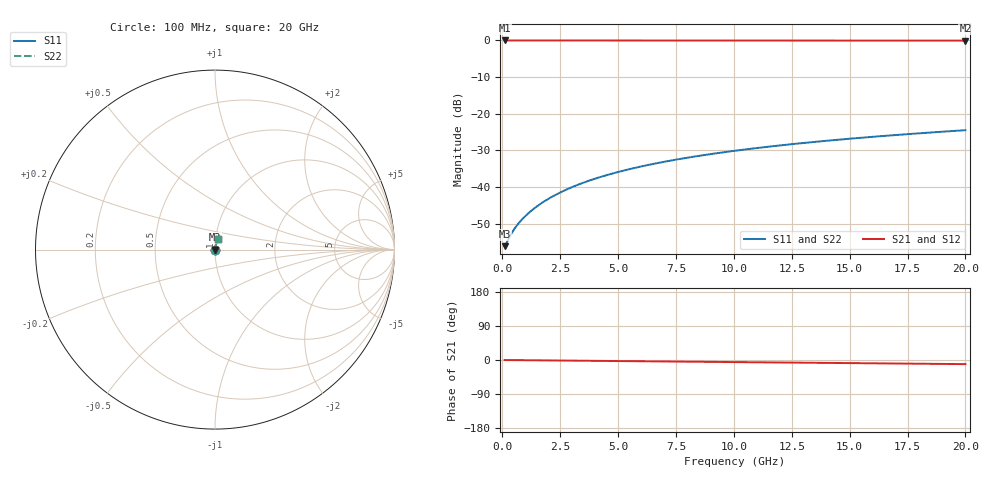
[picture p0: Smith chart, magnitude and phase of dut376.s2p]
! Touchstone file exported from HFSS 2026.1.0
!  File:  C:/ffzhzh/LocalFiles/Ansys_Project_Files/temp_train_BSMRDL_376_1783011889_46388.aedt
!  Generated:  01:06:11 AM Jul  3, 2026
!  Design:  BSMRDL
!  Project:  temp_train_BSMRDL_376_1783011889_46388
! Variables:
!  h_bsmrdl = 2.54um
!  h_ox = 20um
!  h_rdl = 5um
!  h_sub = 80um
!  h_tmrdl = 5um
!  h_tsv = 80um
!  h_via = 3um
!  l_bsmrdl = 168.06um
!  l_sub = 568.06um
!  l_tmrdl = 200um
!  m_sub = 200um
!  pitch = 27.35um
!  r_tsv = 6um
!  s_tmrdl = 10um
!  w_bsmrdl = 19.92um
!  w_sub = 500um
!  w_tmrdl = 12um
!  x_tsv_center1 = 206um
!  x_tsv_center2 = 393.98um
!  x_tsv_center3 = 605.98um
!  x_tsv_center4 = 793.96um
!  x_tsv_center5 = 1005.96um
!  x_tsv_center6 = 1193.94um
# GHz S MA R 50.000000
! Terminal data exported
! Port[1] = BSM_RDL1_1_T1
! Port[2] = BSM_RDL1_1_T2
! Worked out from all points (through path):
!   200 points, 100 MHz to 20 GHz, reference 50 ohm
!   highest |S21| = -0.01 dB at 100 MHz (marker M1); lowest = -0.1 dB at 20 GHz (marker M2)
!   group delay of S21, straight-line fit = 1.51 ps
!   lowest |S11| = -56.1 dB at 100 MHz (marker M3), VSWR 1.00, Z = 50.1 + j0.0435 ohm
!   |S11| at or under -10 dB: start of sweep to end of sweep
!   |S22| runs from -56.1 to -24.5 dB; largest |S21 - S12| = 2.3e-14
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0.1  0.001559 16.2  0.9985 -0.1  0.9985 -0.1  0.001559 16.2
! Gamma 0 0 0 0
! Port Impedance 50 0 50 0
0.4  0.002332 42.9  0.9983 -0.2  0.9983 -0.2  0.002332 42.9
0.6  0.002905 50.5  0.9982 -0.4  0.9982 -0.4  0.002905 50.5
0.7  0.003186 53.3  0.9981 -0.4  0.9981 -0.4  0.003187 53.3
0.9  0.003746 57.8  0.998 -0.5  0.998 -0.5  0.003747 57.8
1.1  0.00431 61.2  0.9979 -0.6  0.9979 -0.6  0.00431 61.2
1.3  0.00488 64.0  0.9979 -0.7  0.9979 -0.7  0.00488 64.0
1.5  0.005458 66.2  0.9978 -0.8  0.9978 -0.8  0.005458 66.2
1.8  0.006335 68.9  0.9978 -1.0  0.9978 -1.0  0.006335 68.9
2.3  0.007819 71.9  0.9977 -1.3  0.9977 -1.3  0.007819 71.9
2.9  0.009625 74.3  0.9976 -1.6  0.9976 -1.6  0.009625 74.3
3.5  0.01145 75.8  0.9975 -1.9  0.9975 -1.9  0.01145 75.8
4.2  0.01358 77.0  0.9974 -2.3  0.9974 -2.3  0.01358 77.0
5  0.01603 77.7  0.9972 -2.8  0.9972 -2.8  0.01603 77.8
5.9  0.01877 78.2  0.997 -3.3  0.997 -3.3  0.01877 78.2
6.8  0.0215 78.4  0.9968 -3.8  0.9968 -3.8  0.0215 78.4
8.3  0.02603 78.3  0.9964 -4.6  0.9964 -4.6  0.02603 78.3
10.1  0.03138 77.9  0.9959 -5.6  0.9959 -5.6  0.03138 77.9
11.7  0.03608 77.3  0.9954 -6.4  0.9954 -6.4  0.03608 77.3
13.4  0.04101 76.7  0.9949 -7.3  0.9949 -7.3  0.04101 76.7
16.7  0.0504 75.3  0.9938 -9.1  0.9938 -9.1  0.0504 75.3
20  0.0596 73.8  0.9927 -10.9  0.9927 -10.9  0.0596 73.8
